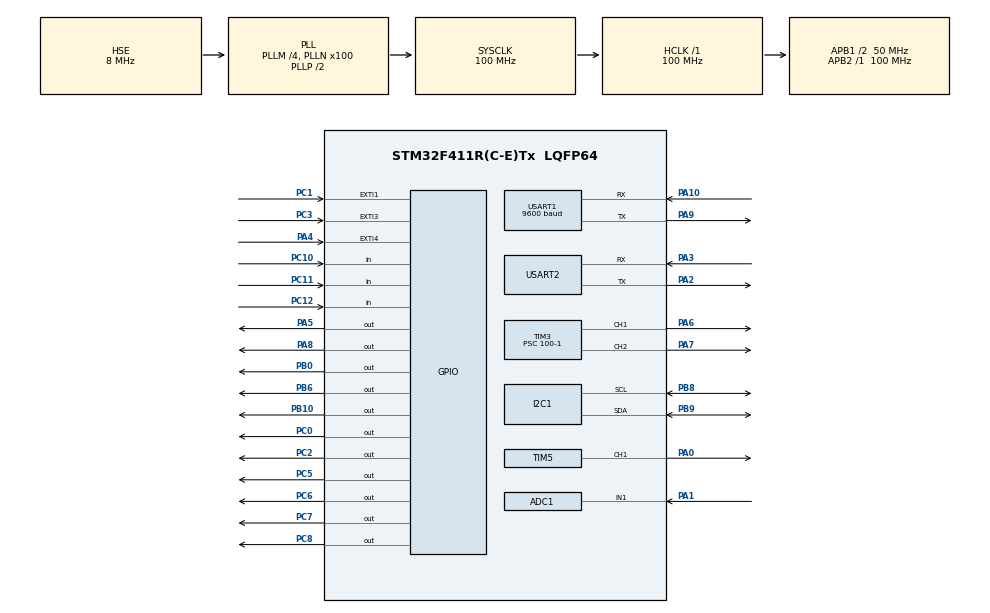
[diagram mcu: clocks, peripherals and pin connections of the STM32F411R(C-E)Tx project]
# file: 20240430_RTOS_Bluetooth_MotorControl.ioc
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ADC1.Channel-1\#ChannelRegularConversion=ADC_CHANNEL_1
ADC1.ClockPrescaler=ADC_CLOCK_SYNC_PCLK_DIV6
ADC1.DMAContinuousRequests=ENABLE
ADC1.NbrOfConversionFlag=1
ADC1.Rank-1\#ChannelRegularConversion=1
ADC1.SamplingTime-1\#ChannelRegularConversion=ADC_SAMPLETIME_3CYCLES
ADC1.master=1
Dma.ADC1.0.Direction=DMA_PERIPH_TO_MEMORY
Dma.ADC1.0.FIFOMode=DMA_FIFOMODE_DISABLE
Dma.ADC1.0.Instance=DMA2_Stream0
Dma.ADC1.0.MemDataAlignment=DMA_MDATAALIGN_HALFWORD
Dma.ADC1.0.MemInc=DMA_MINC_ENABLE
Dma.ADC1.0.Mode=DMA_CIRCULAR
Dma.ADC1.0.PeriphDataAlignment=DMA_PDATAALIGN_HALFWORD
Dma.ADC1.0.PeriphInc=DMA_PINC_DISABLE
Dma.ADC1.0.Priority=DMA_PRIORITY_LOW
Dma.Request0=ADC1
FREERTOS.Mutexes01=LCDMutex,Dynamic,NULL
FREERTOS.Tasks01=defaultTask,0,128,StartDefaultTask,Default,NULL,Dynamic,NULL,NULL;listenerTask,-3,128,ListenerTask,Default,NULL,Dynamic,NULL,NULL;controllerTask,-3,128,ControllerTask,Default,NULL,Dynamic,NULL,NULL;presenterTask,-3,128,PresenterTask,Default,NULL,Dynamic,NULL,NULL
FREERTOS.configUSE_NEWLIB_REENTRANT=1
Mcu.Family=STM32F4
Mcu.Name=STM32F411R(C-E)Tx
Mcu.Package=LQFP64
NVIC.ADC_IRQn=true\:5\:0\:false\:false\:true\:true\:true\:true\:true
NVIC.DMA2_Stream0_IRQn=true\:5\:0\:false\:false\:true\:true\:false\:true\:true
NVIC.EXTI1_IRQn=true\:5\:0\:false\:false\:true\:true\:true\:true\:true
NVIC.EXTI3_IRQn=true\:5\:0\:false\:false\:true\:true\:true\:true\:true
NVIC.EXTI4_IRQn=true\:5\:0\:false\:false\:true\:true\:true\:true\:true
NVIC.PriorityGroup=NVIC_PRIORITYGROUP_4
NVIC.TIM1_TRG_COM_TIM11_IRQn=true\:5\:0\:false\:false\:true\:false\:false\:true\:true
NVIC.TimeBase=TIM1_TRG_COM_TIM11_IRQn
NVIC.TimeBaseIP=TIM11
NVIC.USART1_IRQn=true\:5\:0\:false\:false\:true\:true\:true\:true\:true
NVIC.USART2_IRQn=true\:5\:0\:false\:false\:true\:true\:true\:true\:true
PA0-WKUP.Signal=S_TIM5_CH1
PA1.Signal=ADCx_IN1
PA10.Mode=Asynchronous
PA10.Signal=USART1_RX
PA13.Mode=Serial_Wire
PA13.Signal=SYS_JTMS-SWDIO
PA14.Mode=Serial_Wire
PA14.Signal=SYS_JTCK-SWCLK
PA2.Mode=Asynchronous
PA2.Signal=USART2_TX
PA3.Mode=Asynchronous
PA3.Signal=USART2_RX
PA4.GPIO_ModeDefaultEXTI=GPIO_MODE_IT_RISING_FALLING
PA4.Signal=GPXTI4
PA5.Signal=GPIO_Output
PA6.Signal=S_TIM3_CH1
PA7.Signal=S_TIM3_CH2
PA8.Signal=GPIO_Output
PA9.Mode=Asynchronous
PA9.Signal=USART1_TX
PB0.Signal=GPIO_Output
PB10.Signal=GPIO_Output
PB6.Signal=GPIO_Output
PB8.Mode=I2C
PB8.Signal=I2C1_SCL
PB9.Mode=I2C
PB9.Signal=I2C1_SDA
PC0.Signal=GPIO_Output
PC1.GPIO_ModeDefaultEXTI=GPIO_MODE_IT_RISING_FALLING
PC1.Signal=GPXTI1
PC10.Signal=GPIO_Input
PC11.Signal=GPIO_Input
PC12.Signal=GPIO_Input
PC2.Signal=GPIO_Output
PC3.GPIO_ModeDefaultEXTI=GPIO_MODE_IT_RISING_FALLING
PC3.Signal=GPXTI3
PC5.Signal=GPIO_Output
PC6.Signal=GPIO_Output
PC7.Signal=GPIO_Output
PC8.Signal=GPIO_Output
PH0\ -\ OSC_IN.Mode=HSE-External-Oscillator
PH0\ -\ OSC_IN.Signal=RCC_OSC_IN
PH1\ -\ OSC_OUT.Mode=HSE-External-Oscillator
PH1\ -\ OSC_OUT.Signal=RCC_OSC_OUT
ProjectManager.HeapSize=0x200
ProjectManager.StackSize=0x400
ProjectManager.TargetToolchain=STM32CubeIDE
RCC.48MHZClocksFreq_Value=50000000
RCC.AHBFreq_Value=100000000
RCC.APB1CLKDivider=RCC_HCLK_DIV2
RCC.APB1Freq_Value=50000000
RCC.APB1TimFreq_Value=100000000
RCC.APB2Freq_Value=100000000
RCC.APB2TimFreq_Value=100000000
RCC.CortexFreq_Value=100000000
RCC.HCLKFreq_Value=100000000
RCC.HSE_VALUE=8000000
RCC.HSI_VALUE=16000000
RCC.LSE_VALUE=32768
RCC.PLLM=4
RCC.PLLN=100
RCC.PLLSourceVirtual=RCC_PLLSOURCE_HSE
RCC.SYSCLKFreq_VALUE=100000000
RCC.SYSCLKSource=RCC_SYSCLKSOURCE_PLLCLK
RCC.VCOOutputFreq_Value=200000000
SH.ADCx_IN1.0=ADC1_IN1,IN1
SH.S_TIM3_CH1.0=TIM3_CH1,PWM Generation1 CH1
SH.S_TIM3_CH2.0=TIM3_CH2,PWM Generation2 CH2
SH.S_TIM5_CH1.0=TIM5_CH1,PWM Generation1 CH1
TIM1.Period=65535
TIM1.Prescaler=100-1
TIM2.Period=65535
TIM2.Prescaler=100-1
TIM3.Channel-PWM\ Generation1\ CH1=TIM_CHANNEL_1
TIM3.Channel-PWM\ Generation2\ CH2=TIM_CHANNEL_2
TIM3.Period=1000-1
TIM3.Prescaler=100-1
TIM5.Channel-PWM\ Generation1\ CH1=TIM_CHANNEL_1
TIM5.Period=1000-1
TIM5.Prescaler=100-1
USART1.BaudRate=9600
USART1.VirtualMode=VM_ASYNC
USART2.VirtualMode=VM_ASYNC
VP_FREERTOS_VS_CMSIS_V1.Mode=CMSIS_V1
VP_SYS_VS_tim11.Mode=TIM11
VP_TIM1_VS_ClockSourceINT.Mode=Internal
VP_TIM2_VS_ClockSourceINT.Mode=Internal
VP_TIM3_VS_ClockSourceINT.Mode=Internal
VP_TIM5_VS_ClockSourceINT.Mode=Internal
board=custom

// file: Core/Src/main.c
/* USER CODE BEGIN Header */
/**
  ******************************************************************************
  * @file           : main.c
  * @brief          : Main program body
  ******************************************************************************
  * @attention
  *
  * Copyright (c) 2024 STMicroelectronics.
  * All rights reserved.
  *
  * This software is licensed under terms that can be found in the LICENSE file
  * in the root directory of this software component.
  * If no LICENSE file comes with this software, it is provided AS-IS.
  *
  ******************************************************************************
  */
/* USER CODE END Header */
#include "main.h"
#include "cmsis_os.h"

/* USER CODE BEGIN Includes */
#include "../driver/LCD/LCD.h"
#include "../driver/motor/motor.h"
#include "../driver/UltraSonic/UltraSonic.h"
#include "../common/delayus/delayus.h"
#include "../ap/listenerTask/Listener.h"
#include "../ap/controllerTask/Controller.h"
#include "../ap/presenterTask/Presenter.h"
/* USER CODE END Includes */

ADC_HandleTypeDef hadc1;
DMA_HandleTypeDef hdma_adc1;

I2C_HandleTypeDef hi2c1;

TIM_HandleTypeDef htim1;
TIM_HandleTypeDef htim2;
TIM_HandleTypeDef htim3;
TIM_HandleTypeDef htim5;

UART_HandleTypeDef huart1;
UART_HandleTypeDef huart2;

osThreadId defaultTaskHandle;
osThreadId listenerTaskHandle;
osThreadId controllerTaskHandle;
osThreadId presenterTaskHandle;
osMutexId LCDMutexHandle;

void SystemClock_Config(void);
static void MX_GPIO_Init(void);
static void MX_DMA_Init(void);
static void MX_USART2_UART_Init(void);
static void MX_I2C1_Init(void);
static void MX_TIM3_Init(void);
static void MX_USART1_UART_Init(void);
static void MX_TIM1_Init(void);
static void MX_TIM2_Init(void);
static void MX_TIM5_Init(void);
static void MX_ADC1_Init(void);
void StartDefaultTask(void const * argument);
void ListenerTask(void const * argument);
void ControllerTask(void const * argument);
void PresenterTask(void const * argument);

/* USER CODE BEGIN 0 */
uint8_t huart1RxData;
uint8_t huartBTData;
extern motor_t motorL, motorR;
extern ultra_t sonic1, sonic2, sonic3;

 void HAL_UART_RxCpltCallback(UART_HandleTypeDef *huart){
	 if(huart->Instance == USART2){
		 Listener_ISR_Process(huart1RxData);
		 HAL_UART_Transmit(&huart2, &huart1RxData, 1, 1000);
		 HAL_UART_Receive_IT(&huart2, &huart1RxData, 1);
	 }
	 if (huart->Instance == USART1){
		 Listener_ISR_Process(huartBTData);
		 HAL_UART_Transmit(&huart2, &huartBTData, 1, 1000);
		 HAL_UART_Receive_IT(&huart1, &huartBTData, 1);
	 }
 }

 void HAL_GPIO_EXTI_Callback(uint16_t GPIO_Pin)
 {
 	UltraSonic_ISR_Process(GPIO_Pin, &sonic1);
 	UltraSonic_ISR_Process(GPIO_Pin, &sonic2);
 	UltraSonic_ISR_Process(GPIO_Pin, &sonic3);
 }

/* USER CODE END 0 */

int main(void)
{

  /* MCU Configuration--------------------------------------------------------*/

  /* Reset of all peripherals, Initializes the Flash interface and the Systick. */
  HAL_Init();

  /* Configure the system clock */
  SystemClock_Config();

  /* Initialize all configured peripherals */
  MX_GPIO_Init();
  MX_DMA_Init();
  MX_USART2_UART_Init();
  MX_I2C1_Init();
  MX_TIM3_Init();
  MX_USART1_UART_Init();
  MX_TIM1_Init();
  MX_TIM2_Init();
  MX_TIM5_Init();
  MX_ADC1_Init();
  /* USER CODE BEGIN 2 */
  DelayInit();
  LCD_init(&hi2c1);
  HAL_UART_Receive_IT(&huart2, &huart1RxData, 1);
  HAL_UART_Receive_IT(&huart1, &huartBTData, 1);
  HAL_TIM_PWM_Start(&htim5, TIM_CHANNEL_1);

  uint16_t adcValue[2];
  HAL_ADC_Start_DMA(&hadc1, (uint32_t*) adcValue, 2);

  /* USER CODE END 2 */

  /* Create the mutex(es) */
  /* definition and creation of LCDMutex */
  osMutexDef(LCDMutex);
  LCDMutexHandle = osMutexCreate(osMutex(LCDMutex));

  /* Create the thread(s) */
  /* definition and creation of defaultTask */
  osThreadDef(defaultTask, StartDefaultTask, osPriorityNormal, 0, 128);
  defaultTaskHandle = osThreadCreate(osThread(defaultTask), NULL);

  /* definition and creation of listenerTask */
  osThreadDef(listenerTask, ListenerTask, osPriorityIdle, 0, 128);
  listenerTaskHandle = osThreadCreate(osThread(listenerTask), NULL);

  /* definition and creation of controllerTask */
  osThreadDef(controllerTask, ControllerTask, osPriorityIdle, 0, 128);
  controllerTaskHandle = osThreadCreate(osThread(controllerTask), NULL);

  /* definition and creation of presenterTask */
  osThreadDef(presenterTask, PresenterTask, osPriorityIdle, 0, 128);
  presenterTaskHandle = osThreadCreate(osThread(presenterTask), NULL);

  /* Start scheduler */
  osKernelStart();

  /* We should never get here as control is now taken by the scheduler */

  /* Infinite loop */
  while (1)
  {

  }
}

void SystemClock_Config(void)
{
  RCC_OscInitTypeDef RCC_OscInitStruct = {0};
  RCC_ClkInitTypeDef RCC_ClkInitStruct = {0};

  /** Configure the main internal regulator output voltage
  */
  __HAL_RCC_PWR_CLK_ENABLE();
  __HAL_PWR_VOLTAGESCALING_CONFIG(PWR_REGULATOR_VOLTAGE_SCALE1);

  /** Initializes the RCC Oscillators according to the specified parameters
  * in the RCC_OscInitTypeDef structure.
  */
  RCC_OscInitStruct.OscillatorType = RCC_OSCILLATORTYPE_HSE;
  RCC_OscInitStruct.HSEState = RCC_HSE_ON;
  RCC_OscInitStruct.PLL.PLLState = RCC_PLL_ON;
  RCC_OscInitStruct.PLL.PLLSource = RCC_PLLSOURCE_HSE;
  RCC_OscInitStruct.PLL.PLLM = 4;
  RCC_OscInitStruct.PLL.PLLN = 100;
  RCC_OscInitStruct.PLL.PLLP = RCC_PLLP_DIV2;
  RCC_OscInitStruct.PLL.PLLQ = 4;
  if (HAL_RCC_OscConfig(&RCC_OscInitStruct) != HAL_OK)
  {
    Error_Handler();
  }

  /** Initializes the CPU, AHB and APB buses clocks
  */
  RCC_ClkInitStruct.ClockType = RCC_CLOCKTYPE_HCLK|RCC_CLOCKTYPE_SYSCLK
                              |RCC_CLOCKTYPE_PCLK1|RCC_CLOCKTYPE_PCLK2;
  RCC_ClkInitStruct.SYSCLKSource = RCC_SYSCLKSOURCE_PLLCLK;
  RCC_ClkInitStruct.AHBCLKDivider = RCC_SYSCLK_DIV1;
  RCC_ClkInitStruct.APB1CLKDivider = RCC_HCLK_DIV2;
  RCC_ClkInitStruct.APB2CLKDivider = RCC_HCLK_DIV1;

  if (HAL_RCC_ClockConfig(&RCC_ClkInitStruct, FLASH_LATENCY_3) != HAL_OK)
  {
    Error_Handler();
  }
}

static void MX_ADC1_Init(void)
{

  ADC_ChannelConfTypeDef sConfig = {0};

  /** Configure the global features of the ADC (Clock, Resolution, Data Alignment and number of conversion)
  */
  hadc1.Instance = ADC1;
  hadc1.Init.ClockPrescaler = ADC_CLOCK_SYNC_PCLK_DIV6;
  hadc1.Init.Resolution = ADC_RESOLUTION_12B;
  hadc1.Init.ScanConvMode = DISABLE;
  hadc1.Init.ContinuousConvMode = DISABLE;
  hadc1.Init.DiscontinuousConvMode = DISABLE;
  hadc1.Init.ExternalTrigConvEdge = ADC_EXTERNALTRIGCONVEDGE_NONE;
  hadc1.Init.ExternalTrigConv = ADC_SOFTWARE_START;
  hadc1.Init.DataAlign = ADC_DATAALIGN_RIGHT;
  hadc1.Init.NbrOfConversion = 1;
  hadc1.Init.DMAContinuousRequests = ENABLE;
  hadc1.Init.EOCSelection = ADC_EOC_SINGLE_CONV;
  if (HAL_ADC_Init(&hadc1) != HAL_OK)
  {
    Error_Handler();
  }

  /** Configure for the selected ADC regular channel its corresponding rank in the sequencer and its sample time.
  */
  sConfig.Channel = ADC_CHANNEL_1;
  sConfig.Rank = 1;
  sConfig.SamplingTime = ADC_SAMPLETIME_3CYCLES;
  if (HAL_ADC_ConfigChannel(&hadc1, &sConfig) != HAL_OK)
  {
    Error_Handler();
  }

}

static void MX_I2C1_Init(void)
{

  hi2c1.Instance = I2C1;
  hi2c1.Init.ClockSpeed = 100000;
  hi2c1.Init.DutyCycle = I2C_DUTYCYCLE_2;
  hi2c1.Init.OwnAddress1 = 0;
  hi2c1.Init.AddressingMode = I2C_ADDRESSINGMODE_7BIT;
  hi2c1.Init.DualAddressMode = I2C_DUALADDRESS_DISABLE;
  hi2c1.Init.OwnAddress2 = 0;
  hi2c1.Init.GeneralCallMode = I2C_GENERALCALL_DISABLE;
  hi2c1.Init.NoStretchMode = I2C_NOSTRETCH_DISABLE;
  if (HAL_I2C_Init(&hi2c1) != HAL_OK)
  {
    Error_Handler();
  }

}

static void MX_TIM1_Init(void)
{

  TIM_ClockConfigTypeDef sClockSourceConfig = {0};
  TIM_MasterConfigTypeDef sMasterConfig = {0};

  htim1.Instance = TIM1;
  htim1.Init.Prescaler = 100-1;
  htim1.Init.CounterMode = TIM_COUNTERMODE_UP;
  htim1.Init.Period = 65535;
  htim1.Init.ClockDivision = TIM_CLOCKDIVISION_DIV1;
  htim1.Init.RepetitionCounter = 0;
  htim1.Init.AutoReloadPreload = TIM_AUTORELOAD_PRELOAD_DISABLE;
  if (HAL_TIM_Base_Init(&htim1) != HAL_OK)
  {
    Error_Handler();
  }
  sClockSourceConfig.ClockSource = TIM_CLOCKSOURCE_INTERNAL;
  if (HAL_TIM_ConfigClockSource(&htim1, &sClockSourceConfig) != HAL_OK)
  {
    Error_Handler();
  }
  sMasterConfig.MasterOutputTrigger = TIM_TRGO_RESET;
  sMasterConfig.MasterSlaveMode = TIM_MASTERSLAVEMODE_DISABLE;
  if (HAL_TIMEx_MasterConfigSynchronization(&htim1, &sMasterConfig) != HAL_OK)
  {
    Error_Handler();
  }

}

static void MX_TIM2_Init(void)
{

  TIM_ClockConfigTypeDef sClockSourceConfig = {0};
  TIM_MasterConfigTypeDef sMasterConfig = {0};

  htim2.Instance = TIM2;
  htim2.Init.Prescaler = 100-1;
  htim2.Init.CounterMode = TIM_COUNTERMODE_UP;
  htim2.Init.Period = 65535;
  htim2.Init.ClockDivision = TIM_CLOCKDIVISION_DIV1;
  htim2.Init.AutoReloadPreload = TIM_AUTORELOAD_PRELOAD_DISABLE;
  if (HAL_TIM_Base_Init(&htim2) != HAL_OK)
  {
    Error_Handler();
  }
  sClockSourceConfig.ClockSource = TIM_CLOCKSOURCE_INTERNAL;
  if (HAL_TIM_ConfigClockSource(&htim2, &sClockSourceConfig) != HAL_OK)
  {
    Error_Handler();
  }
  sMasterConfig.MasterOutputTrigger = TIM_TRGO_RESET;
  sMasterConfig.MasterSlaveMode = TIM_MASTERSLAVEMODE_DISABLE;
  if (HAL_TIMEx_MasterConfigSynchronization(&htim2, &sMasterConfig) != HAL_OK)
  {
    Error_Handler();
  }

}

static void MX_TIM3_Init(void)
{

  TIM_ClockConfigTypeDef sClockSourceConfig = {0};
  TIM_MasterConfigTypeDef sMasterConfig = {0};
  TIM_OC_InitTypeDef sConfigOC = {0};

  htim3.Instance = TIM3;
  htim3.Init.Prescaler = 100-1;
  htim3.Init.CounterMode = TIM_COUNTERMODE_UP;
  htim3.Init.Period = 1000-1;
  htim3.Init.ClockDivision = TIM_CLOCKDIVISION_DIV1;
  htim3.Init.AutoReloadPreload = TIM_AUTORELOAD_PRELOAD_DISABLE;
  if (HAL_TIM_Base_Init(&htim3) != HAL_OK)
  {
    Error_Handler();
  }
  sClockSourceConfig.ClockSource = TIM_CLOCKSOURCE_INTERNAL;
  if (HAL_TIM_ConfigClockSource(&htim3, &sClockSourceConfig) != HAL_OK)
  {
    Error_Handler();
  }
  if (HAL_TIM_PWM_Init(&htim3) != HAL_OK)
  {
    Error_Handler();
  }
  sMasterConfig.MasterOutputTrigger = TIM_TRGO_RESET;
  sMasterConfig.MasterSlaveMode = TIM_MASTERSLAVEMODE_DISABLE;
  if (HAL_TIMEx_MasterConfigSynchronization(&htim3, &sMasterConfig) != HAL_OK)
  {
    Error_Handler();
  }
  sConfigOC.OCMode = TIM_OCMODE_PWM1;
  sConfigOC.Pulse = 0;
  sConfigOC.OCPolarity = TIM_OCPOLARITY_HIGH;
  sConfigOC.OCFastMode = TIM_OCFAST_DISABLE;
  if (HAL_TIM_PWM_ConfigChannel(&htim3, &sConfigOC, TIM_CHANNEL_1) != HAL_OK)
  {
    Error_Handler();
  }
  if (HAL_TIM_PWM_ConfigChannel(&htim3, &sConfigOC, TIM_CHANNEL_2) != HAL_OK)
  {
    Error_Handler();
  }
  HAL_TIM_MspPostInit(&htim3);

}

static void MX_TIM5_Init(void)
{

  TIM_ClockConfigTypeDef sClockSourceConfig = {0};
  TIM_MasterConfigTypeDef sMasterConfig = {0};
  TIM_OC_InitTypeDef sConfigOC = {0};

  htim5.Instance = TIM5;
  htim5.Init.Prescaler = 100-1;
  htim5.Init.CounterMode = TIM_COUNTERMODE_UP;
  htim5.Init.Period = 1000-1;
  htim5.Init.ClockDivision = TIM_CLOCKDIVISION_DIV1;
  htim5.Init.AutoReloadPreload = TIM_AUTORELOAD_PRELOAD_DISABLE;
  if (HAL_TIM_Base_Init(&htim5) != HAL_OK)
  {
    Error_Handler();
  }
  sClockSourceConfig.ClockSource = TIM_CLOCKSOURCE_INTERNAL;
  if (HAL_TIM_ConfigClockSource(&htim5, &sClockSourceConfig) != HAL_OK)
  {
    Error_Handler();
  }
  if (HAL_TIM_PWM_Init(&htim5) != HAL_OK)
  {
    Error_Handler();
  }
  sMasterConfig.MasterOutputTrigger = TIM_TRGO_RESET;
  sMasterConfig.MasterSlaveMode = TIM_MASTERSLAVEMODE_DISABLE;
  if (HAL_TIMEx_MasterConfigSynchronization(&htim5, &sMasterConfig) != HAL_OK)
  {
    Error_Handler();
  }
  sConfigOC.OCMode = TIM_OCMODE_PWM1;
  sConfigOC.Pulse = 0;
  sConfigOC.OCPolarity = TIM_OCPOLARITY_HIGH;
  sConfigOC.OCFastMode = TIM_OCFAST_DISABLE;
  if (HAL_TIM_PWM_ConfigChannel(&htim5, &sConfigOC, TIM_CHANNEL_1) != HAL_OK)
  {
    Error_Handler();
  }
  HAL_TIM_MspPostInit(&htim5);

}

static void MX_USART1_UART_Init(void)
{

  huart1.Instance = USART1;
  huart1.Init.BaudRate = 9600;
  huart1.Init.WordLength = UART_WORDLENGTH_8B;
  huart1.Init.StopBits = UART_STOPBITS_1;
  huart1.Init.Parity = UART_PARITY_NONE;
  huart1.Init.Mode = UART_MODE_TX_RX;
  huart1.Init.HwFlowCtl = UART_HWCONTROL_NONE;
  huart1.Init.OverSampling = UART_OVERSAMPLING_16;
  if (HAL_UART_Init(&huart1) != HAL_OK)
  {
    Error_Handler();
  }

}

static void MX_USART2_UART_Init(void)
{

  huart2.Instance = USART2;
  huart2.Init.BaudRate = 115200;
  huart2.Init.WordLength = UART_WORDLENGTH_8B;
  huart2.Init.StopBits = UART_STOPBITS_1;
  huart2.Init.Parity = UART_PARITY_NONE;
  huart2.Init.Mode = UART_MODE_TX_RX;
  huart2.Init.HwFlowCtl = UART_HWCONTROL_NONE;
  huart2.Init.OverSampling = UART_OVERSAMPLING_16;
  if (HAL_UART_Init(&huart2) != HAL_OK)
  {
    Error_Handler();
  }

}

static void MX_DMA_Init(void)
{

  /* DMA controller clock enable */
  __HAL_RCC_DMA2_CLK_ENABLE();

  /* DMA interrupt init */
  /* DMA2_Stream0_IRQn interrupt configuration */
  HAL_NVIC_SetPriority(DMA2_Stream0_IRQn, 5, 0);
  HAL_NVIC_EnableIRQ(DMA2_Stream0_IRQn);

}

static void MX_GPIO_Init(void)
{
  GPIO_InitTypeDef GPIO_InitStruct = {0};

  /* GPIO Ports Clock Enable */
  __HAL_RCC_GPIOH_CLK_ENABLE();
  __HAL_RCC_GPIOC_CLK_ENABLE();
  __HAL_RCC_GPIOA_CLK_ENABLE();
  __HAL_RCC_GPIOB_CLK_ENABLE();

  /*Configure GPIO pin Output Level */
  HAL_GPIO_WritePin(GPIOC, GPIO_PIN_0|GPIO_PIN_2|GPIO_PIN_5|GPIO_PIN_6
                          |GPIO_PIN_7|GPIO_PIN_8, GPIO_PIN_RESET);

  /*Configure GPIO pin Output Level */
  HAL_GPIO_WritePin(GPIOA, GPIO_PIN_5|GPIO_PIN_8, GPIO_PIN_RESET);

  /*Configure GPIO pin Output Level */
  HAL_GPIO_WritePin(GPIOB, GPIO_PIN_0|GPIO_PIN_10|GPIO_PIN_6, GPIO_PIN_RESET);

  /*Configure GPIO pins : PC0 PC2 PC5 PC6
                           PC7 PC8 */
  GPIO_InitStruct.Pin = GPIO_PIN_0|GPIO_PIN_2|GPIO_PIN_5|GPIO_PIN_6
                          |GPIO_PIN_7|GPIO_PIN_8;
  GPIO_InitStruct.Mode = GPIO_MODE_OUTPUT_PP;
  GPIO_InitStruct.Pull = GPIO_NOPULL;
  GPIO_InitStruct.Speed = GPIO_SPEED_FREQ_LOW;
  HAL_GPIO_Init(GPIOC, &GPIO_InitStruct);

  /*Configure GPIO pins : PC1 PC3 */
  GPIO_InitStruct.Pin = GPIO_PIN_1|GPIO_PIN_3;
  GPIO_InitStruct.Mode = GPIO_MODE_IT_RISING_FALLING;
  GPIO_InitStruct.Pull = GPIO_NOPULL;
  HAL_GPIO_Init(GPIOC, &GPIO_InitStruct);

  /*Configure GPIO pin : PA4 */
  GPIO_InitStruct.Pin = GPIO_PIN_4;
  GPIO_InitStruct.Mode = GPIO_MODE_IT_RISING_FALLING;
  GPIO_InitStruct.Pull = GPIO_NOPULL;
  HAL_GPIO_Init(GPIOA, &GPIO_InitStruct);

  /*Configure GPIO pins : PA5 PA8 */
  GPIO_InitStruct.Pin = GPIO_PIN_5|GPIO_PIN_8;
  GPIO_InitStruct.Mode = GPIO_MODE_OUTPUT_PP;
  GPIO_InitStruct.Pull = GPIO_NOPULL;
  GPIO_InitStruct.Speed = GPIO_SPEED_FREQ_LOW;
  HAL_GPIO_Init(GPIOA, &GPIO_InitStruct);

  /*Configure GPIO pins : PB0 PB10 PB6 */
  GPIO_InitStruct.Pin = GPIO_PIN_0|GPIO_PIN_10|GPIO_PIN_6;
  GPIO_InitStruct.Mode = GPIO_MODE_OUTPUT_PP;
  GPIO_InitStruct.Pull = GPIO_NOPULL;
  GPIO_InitStruct.Speed = GPIO_SPEED_FREQ_LOW;
  HAL_GPIO_Init(GPIOB, &GPIO_InitStruct);

  /*Configure GPIO pins : PC10 PC11 PC12 */
  GPIO_InitStruct.Pin = GPIO_PIN_10|GPIO_PIN_11|GPIO_PIN_12;
  GPIO_InitStruct.Mode = GPIO_MODE_INPUT;
  GPIO_InitStruct.Pull = GPIO_NOPULL;
  HAL_GPIO_Init(GPIOC, &GPIO_InitStruct);

  /* EXTI interrupt init*/
  HAL_NVIC_SetPriority(EXTI1_IRQn, 5, 0);
  HAL_NVIC_EnableIRQ(EXTI1_IRQn);

  HAL_NVIC_SetPriority(EXTI3_IRQn, 5, 0);
  HAL_NVIC_EnableIRQ(EXTI3_IRQn);

  HAL_NVIC_SetPriority(EXTI4_IRQn, 5, 0);
  HAL_NVIC_EnableIRQ(EXTI4_IRQn);

}

void StartDefaultTask(void const * argument)
{
  /* USER CODE BEGIN 5 */
  /* Infinite loop */
  for(;;)
  {
	  HAL_GPIO_TogglePin(GPIOA, GPIO_PIN_5);

    osDelay(500);
  }
  /* USER CODE END 5 */
}

void ListenerTask(void const * argument)
{
  /* USER CODE BEGIN ListenerTask */
	Listener_init();
  /* Infinite loop */
  for(;;)
  {
	  Listener_excuteTask();
    osDelay(100);
  }
  /* USER CODE END ListenerTask */
}

void ControllerTask(void const * argument)
{
  /* USER CODE BEGIN ControllerTask */
	Controller_init();
  /* Infinite loop */
  for(;;)
  {

		Controller_excuteTask();

		osDelay(1);
  }
  /* USER CODE END ControllerTask */
}

void PresenterTask(void const * argument)
{
  /* USER CODE BEGIN PresenterTask */
	Presenter_init();
  /* Infinite loop */
  for(;;)
  {

			Presenter_exeuteTask();

		osDelay(1);
  }
  /* USER CODE END PresenterTask */
}

void HAL_TIM_PeriodElapsedCallback(TIM_HandleTypeDef *htim)
{
  if (htim->Instance == TIM11) {
    HAL_IncTick();
  }
}

void Error_Handler(void)
{
  __disable_irq();
  while (1)
  {
  }
}
